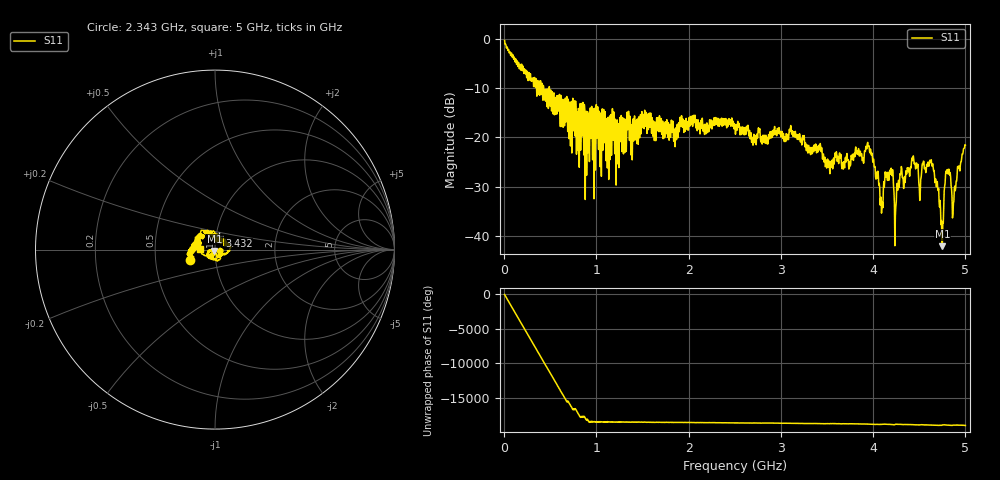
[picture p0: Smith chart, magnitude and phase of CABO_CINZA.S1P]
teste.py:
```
import skrf as rf
import matplotlib.pyplot as plt
rf.stylely()
from pylab import *

ntwk = rf.Network("C:\\Users\\Hardware\\Desktop\\git\\GuidedWavesDataAnalyzer\\s1p\\cinza\\CABO_CINZA.S1P")
ntwk_w = ntwk.windowed()
k = ntwk_w.plot_s_time_db()


plt.figure()
plt.title('Impulse Response Lowpass')
ntwk_w.s11.plot_s_time_impulse(pad=2000, window='hamming')


plt.figure()
plt.title('Impulse Response Bandpass')
ntwk_w.s11.plot_s_time(pad=2000, window='hamming')


plt.show(block=True)
```
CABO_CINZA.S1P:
!Keysight Technologies,E5063A,MY54503139,A.05.08
!Date: Fri Dec 16 02:44:07 2022
!Data & Calibration Information:
!Freq	S11:SOLT1(ON)
# Hz S RI R 50
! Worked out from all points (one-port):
!   1001 points, 4.995 MHz to 5 GHz, reference 50 ohm
!   lowest |S11| = -42.0 dB at 4.75 GHz (marker M1), VSWR 1.02, Z = 49.7 - j0.731 ohm
!   |S11| at or under -10 dB: 382 MHz to 390 MHz (7.935 MHz wide, 2.06 % of centre); 429.6 MHz to 488.9 MHz (59.26 MHz wide, 12.9 % of centre); 490 MHz to end of sweep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
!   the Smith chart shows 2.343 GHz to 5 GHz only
!   S11 on the Smith chart (normalised r, x): 2.343 GHz: 0.75, -0.09; 3.432 GHz: 1.04, +0.16; 5 GHz: 0.85, +0.01
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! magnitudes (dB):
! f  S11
! 4.995 MHz  -0.4
! 904.1 MHz  -14.8
! 1.673 GHz  -18.0
! 2.343 GHz  -16.4
! 3.337 GHz  -23.3
! 3.432 GHz  -21.9
! 3.946 GHz  -21.8
! 4.086 GHz  -32.1
! 4.246 GHz  -34.0
! 4.62 GHz  -25.1
! 4.75 GHz  -42.0
! 4.8 GHz  -26.5
! 4.875 GHz  -32.8
! 5 GHz  -21.6
